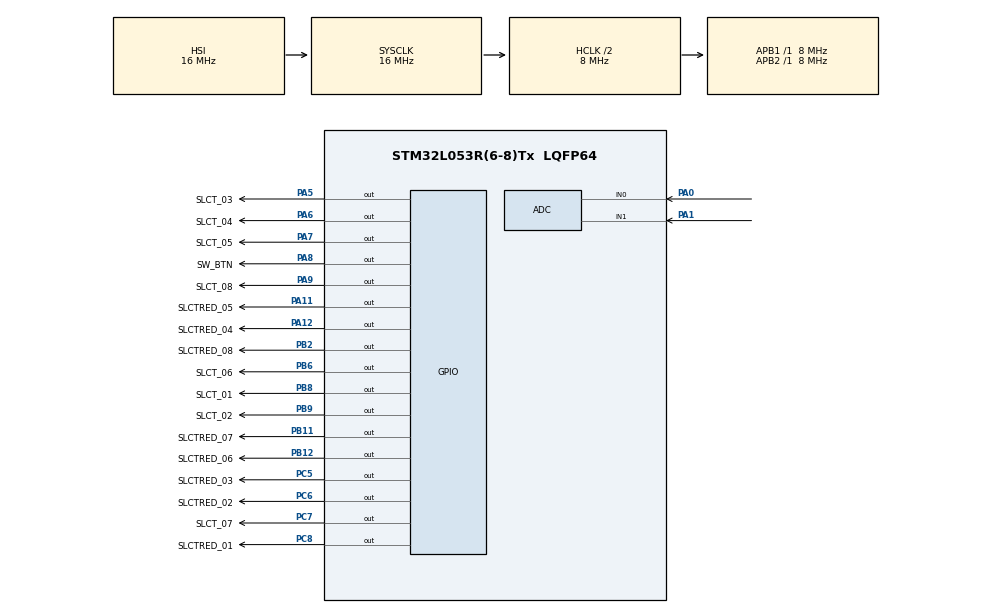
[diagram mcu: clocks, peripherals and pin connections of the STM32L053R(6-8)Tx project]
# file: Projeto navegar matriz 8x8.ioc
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ADC.ContinuousConvMode=ENABLE
ADC.SamplingTime=ADC_SAMPLETIME_160CYCLES_5
Mcu.Family=STM32L0
Mcu.Name=STM32L053R(6-8)Tx
Mcu.Package=LQFP64
NVIC.ADC1_COMP_IRQn=true\:0\:0\:false\:false\:true\:true\:true\:true
PA0.Mode=IN0
PA0.Signal=ADC_IN0
PA1.Mode=IN1
PA1.Signal=ADC_IN1
PA11.GPIO_Label=SLCTRED_05
PA11.Signal=GPIO_Output
PA12.GPIO_Label=SLCTRED_04
PA12.Signal=GPIO_Output
PA5.GPIO_Label=SLCT_03
PA5.Signal=GPIO_Output
PA6.GPIO_Label=SLCT_04
PA6.Signal=GPIO_Output
PA7.GPIO_Label=SLCT_05
PA7.Signal=GPIO_Output
PA8.GPIO_Label=SW_BTN
PA8.Signal=GPIO_Output
PA9.GPIO_Label=SLCT_08
PA9.Signal=GPIO_Output
PB11.GPIO_Label=SLCTRED_07
PB11.Signal=GPIO_Output
PB12.GPIO_Label=SLCTRED_06
PB12.Signal=GPIO_Output
PB2.GPIO_Label=SLCTRED_08
PB2.Signal=GPIO_Output
PB6.GPIO_Label=SLCT_06
PB6.Signal=GPIO_Output
PB8.GPIO_Label=SLCT_01
PB8.Signal=GPIO_Output
PB9.GPIO_Label=SLCT_02
PB9.Signal=GPIO_Output
PC5.GPIO_Label=SLCTRED_03
PC5.Signal=GPIO_Output
PC6.GPIO_Label=SLCTRED_02
PC6.Signal=GPIO_Output
PC7.GPIO_Label=SLCT_07
PC7.Signal=GPIO_Output
PC8.GPIO_Label=SLCTRED_01
PC8.Signal=GPIO_Output
ProjectManager.HeapSize=0x200
ProjectManager.StackSize=0x400
ProjectManager.TargetToolchain=STM32CubeIDE
RCC.AHBCLKDivider=RCC_SYSCLK_DIV2
RCC.AHBFreq_Value=8000000
RCC.APB1Freq_Value=8000000
RCC.APB1TimFreq_Value=8000000
RCC.APB2Freq_Value=8000000
RCC.APB2TimFreq_Value=8000000
RCC.HCLKFreq_Value=8000000
RCC.HSE_VALUE=8000000
RCC.HSI16_VALUE=16000000
RCC.HSI48_VALUE=48000000
RCC.HSI_VALUE=16000000
RCC.MSI_VALUE=2097000
RCC.SYSCLKFreq_VALUE=16000000
RCC.SYSCLKSource=RCC_SYSCLKSOURCE_HSI
RCC.VCOOutputFreq_Value=48000000
board=NUCLEO-L053R8

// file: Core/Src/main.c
/* USER CODE BEGIN Header */
/**
  ******************************************************************************
  * @file           : main.c
  * @brief          : Main program body
  ******************************************************************************
  * @attention
  *
  * Copyright (c) 2025 STMicroelectronics.
  * All rights reserved.
  *
  * This software is licensed under terms that can be found in the LICENSE file
  * in the root directory of this software component.
  * If no LICENSE file comes with this software, it is provided AS-IS.
  *
  ******************************************************************************
  */
/* USER CODE END Header */
#include "main.h"

/* USER CODE BEGIN Includes */
#include <stdio.h>
#include <stdlib.h>
#include <string.h>
/* USER CODE END Includes */

/* USER CODE BEGIN PTD */
typedef struct{
    unsigned P0: 1,
             P1: 1,
             P2: 1,
             P3: 1,
             P4: 1,
             P5: 1,
             P6: 1,
             P7: 1;
}BIT;
/* USER CODE END PTD */

/* USER CODE BEGIN PD */
#define DIM 8

/* USER CODE END PD */

ADC_HandleTypeDef hadc;

/* USER CODE BEGIN PV */
BIT data;
uint32_t axisX, axisY;
char dir[10]= "NONE";

int map[8][8];
int value, lineSelect = 4, columSelect = 4;
/* USER CODE END PV */

void SystemClock_Config(void);
static void MX_GPIO_Init(void);
static void MX_ADC_Init(void);
/* USER CODE BEGIN PFP */
void resetMap(void);
void verifyDirection(void);
void informationlLine(int value);
void informationCarrer(int value);
void infoManager(int value, int lineSelector);
/* USER CODE END PFP */

int main(void)
{

  /* MCU Configuration--------------------------------------------------------*/

  /* Reset of all peripherals, Initializes the Flash interface and the Systick. */
  HAL_Init();

  /* Configure the system clock */
  SystemClock_Config();

  /* Initialize all configured peripherals */
  MX_GPIO_Init();
  MX_ADC_Init();
  /* USER CODE BEGIN 2 */
  resetMap();
  /* USER CODE END 2 */

  /* Infinite loop */
  /* USER CODE BEGIN WHILE */
  while (1) {

	  verifyDirection();
	  infoManager(columSelect, lineSelect);
	  HAL_Delay(100);
    /* USER CODE END WHILE */

  }
}

void SystemClock_Config(void)
{
  RCC_OscInitTypeDef RCC_OscInitStruct = {0};
  RCC_ClkInitTypeDef RCC_ClkInitStruct = {0};

  /** Configure the main internal regulator output voltage
  */
  __HAL_PWR_VOLTAGESCALING_CONFIG(PWR_REGULATOR_VOLTAGE_SCALE1);

  /** Initializes the RCC Oscillators according to the specified parameters
  * in the RCC_OscInitTypeDef structure.
  */
  RCC_OscInitStruct.OscillatorType = RCC_OSCILLATORTYPE_HSI;
  RCC_OscInitStruct.HSIState = RCC_HSI_ON;
  RCC_OscInitStruct.HSICalibrationValue = RCC_HSICALIBRATION_DEFAULT;
  RCC_OscInitStruct.PLL.PLLState = RCC_PLL_NONE;
  if (HAL_RCC_OscConfig(&RCC_OscInitStruct) != HAL_OK)
  {
    Error_Handler();
  }

  /** Initializes the CPU, AHB and APB buses clocks
  */
  RCC_ClkInitStruct.ClockType = RCC_CLOCKTYPE_HCLK|RCC_CLOCKTYPE_SYSCLK
                              |RCC_CLOCKTYPE_PCLK1|RCC_CLOCKTYPE_PCLK2;
  RCC_ClkInitStruct.SYSCLKSource = RCC_SYSCLKSOURCE_HSI;
  RCC_ClkInitStruct.AHBCLKDivider = RCC_SYSCLK_DIV2;
  RCC_ClkInitStruct.APB1CLKDivider = RCC_HCLK_DIV1;
  RCC_ClkInitStruct.APB2CLKDivider = RCC_HCLK_DIV1;

  if (HAL_RCC_ClockConfig(&RCC_ClkInitStruct, FLASH_LATENCY_0) != HAL_OK)
  {
    Error_Handler();
  }
}

static void MX_ADC_Init(void)
{

  ADC_ChannelConfTypeDef sConfig = {0};

  /** Configure the global features of the ADC (Clock, Resolution, Data Alignment and number of conversion)
  */
  hadc.Instance = ADC1;
  hadc.Init.OversamplingMode = DISABLE;
  hadc.Init.ClockPrescaler = ADC_CLOCK_SYNC_PCLK_DIV2;
  hadc.Init.Resolution = ADC_RESOLUTION_12B;
  hadc.Init.SamplingTime = ADC_SAMPLETIME_160CYCLES_5;
  hadc.Init.ScanConvMode = ADC_SCAN_DIRECTION_FORWARD;
  hadc.Init.DataAlign = ADC_DATAALIGN_RIGHT;
  hadc.Init.ContinuousConvMode = ENABLE;
  hadc.Init.DiscontinuousConvMode = DISABLE;
  hadc.Init.ExternalTrigConvEdge = ADC_EXTERNALTRIGCONVEDGE_NONE;
  hadc.Init.ExternalTrigConv = ADC_SOFTWARE_START;
  hadc.Init.DMAContinuousRequests = DISABLE;
  hadc.Init.EOCSelection = ADC_EOC_SINGLE_CONV;
  hadc.Init.Overrun = ADC_OVR_DATA_PRESERVED;
  hadc.Init.LowPowerAutoWait = DISABLE;
  hadc.Init.LowPowerFrequencyMode = DISABLE;
  hadc.Init.LowPowerAutoPowerOff = DISABLE;
  if (HAL_ADC_Init(&hadc) != HAL_OK)
  {
    Error_Handler();
  }

  /** Configure for the selected ADC regular channel to be converted.
  */
  sConfig.Channel = ADC_CHANNEL_0;
  sConfig.Rank = ADC_RANK_CHANNEL_NUMBER;
  if (HAL_ADC_ConfigChannel(&hadc, &sConfig) != HAL_OK)
  {
    Error_Handler();
  }

  /** Configure for the selected ADC regular channel to be converted.
  */
  sConfig.Channel = ADC_CHANNEL_1;
  if (HAL_ADC_ConfigChannel(&hadc, &sConfig) != HAL_OK)
  {
    Error_Handler();
  }

}

static void MX_GPIO_Init(void)
{
  GPIO_InitTypeDef GPIO_InitStruct = {0};

  /* GPIO Ports Clock Enable */
  __HAL_RCC_GPIOA_CLK_ENABLE();
  __HAL_RCC_GPIOC_CLK_ENABLE();
  __HAL_RCC_GPIOB_CLK_ENABLE();

  /*Configure GPIO pin Output Level */
  HAL_GPIO_WritePin(GPIOA, SLCT_03_Pin|SLCT_04_Pin|SLCT_05_Pin|SW_BTN_Pin
                          |SLCT_08_Pin|SLCTRED_05_Pin|SLCTRED_04_Pin, GPIO_PIN_RESET);

  /*Configure GPIO pin Output Level */
  HAL_GPIO_WritePin(GPIOC, SLCTRED_03_Pin|SLCTRED_02_Pin|SLCT_07_Pin|SLCTRED_01_Pin, GPIO_PIN_RESET);

  /*Configure GPIO pin Output Level */
  HAL_GPIO_WritePin(GPIOB, SLCTRED_08_Pin|SLCTRED_07_Pin|SLCTRED_06_Pin|SLCT_06_Pin
                          |SLCT_01_Pin|SLCT_02_Pin, GPIO_PIN_RESET);

  /*Configure GPIO pins : SLCT_03_Pin SLCT_04_Pin SLCT_05_Pin SW_BTN_Pin
                           SLCT_08_Pin SLCTRED_05_Pin SLCTRED_04_Pin */
  GPIO_InitStruct.Pin = SLCT_03_Pin|SLCT_04_Pin|SLCT_05_Pin|SW_BTN_Pin
                          |SLCT_08_Pin|SLCTRED_05_Pin|SLCTRED_04_Pin;
  GPIO_InitStruct.Mode = GPIO_MODE_OUTPUT_PP;
  GPIO_InitStruct.Pull = GPIO_NOPULL;
  GPIO_InitStruct.Speed = GPIO_SPEED_FREQ_LOW;
  HAL_GPIO_Init(GPIOA, &GPIO_InitStruct);

  /*Configure GPIO pins : SLCTRED_03_Pin SLCTRED_02_Pin SLCT_07_Pin SLCTRED_01_Pin */
  GPIO_InitStruct.Pin = SLCTRED_03_Pin|SLCTRED_02_Pin|SLCT_07_Pin|SLCTRED_01_Pin;
  GPIO_InitStruct.Mode = GPIO_MODE_OUTPUT_PP;
  GPIO_InitStruct.Pull = GPIO_NOPULL;
  GPIO_InitStruct.Speed = GPIO_SPEED_FREQ_LOW;
  HAL_GPIO_Init(GPIOC, &GPIO_InitStruct);

  /*Configure GPIO pins : SLCTRED_08_Pin SLCTRED_07_Pin SLCTRED_06_Pin SLCT_06_Pin
                           SLCT_01_Pin SLCT_02_Pin */
  GPIO_InitStruct.Pin = SLCTRED_08_Pin|SLCTRED_07_Pin|SLCTRED_06_Pin|SLCT_06_Pin
                          |SLCT_01_Pin|SLCT_02_Pin;
  GPIO_InitStruct.Mode = GPIO_MODE_OUTPUT_PP;
  GPIO_InitStruct.Pull = GPIO_NOPULL;
  GPIO_InitStruct.Speed = GPIO_SPEED_FREQ_LOW;
  HAL_GPIO_Init(GPIOB, &GPIO_InitStruct);

}

/* USER CODE BEGIN 4 */

// Memory alocation managers
void resetMap(void){
	for (int i = 0; i < DIM; ++i){
		for (int j = 0; j < DIM; ++j){
			map[i][j] = 0;
		}
	}
}

// 8x8 Bit Manager
void infoManager(int value, int lineSelector){
	int line = 0, column = 0;

	for (int i = 7; i >= 0; --i){
		if (i == (lineSelector - 1)){
			for (int j = 7; j >= 0; --j){
				map[i][j] = (value >> j) & 1;
			}
		}
	}

	switch(lineSelector){
		case 1: line = 0x01;
				break;
		case 2: line = 0x02;
				break;
		case 3: line = 0x04;
				break;
		case 4: line = 0x08;
				break;
		case 5: line = 0x10;
				break;
		case 6: line = 0x20;
				break;
		case 7: line = 0x40;
				break;
		case 8: line = 0x80;
				break;
	}

	switch(value){
		case 1: column = 0xFE;
				break;
		case 2: column = 0xFC;
				break;
		case 3: column = 0xF3;
				break;
		case 4: column = 0xE7;
				break;
		case 5: column = 0xCF;
				break;
		case 6: column = 0x9F;
				break;
		case 7: column = 0x3F;
				break;
		case 8: column = 0x7F;
				break;
	}

	informationlLine(line);
	informationCarrer(column);
}

void informationlLine(int line){
	HAL_GPIO_WritePin(SLCT_01_GPIO_Port, SLCT_01_Pin, (line >> 0) & 1);
	HAL_GPIO_WritePin(SLCT_02_GPIO_Port, SLCT_02_Pin, (line >> 1) & 1);
	HAL_GPIO_WritePin(SLCT_03_GPIO_Port, SLCT_03_Pin, (line >> 2) & 1);
	HAL_GPIO_WritePin(SLCT_04_GPIO_Port, SLCT_04_Pin, (line >> 3) & 1);
	HAL_GPIO_WritePin(SLCT_05_GPIO_Port, SLCT_05_Pin, (line >> 4) & 1);
	HAL_GPIO_WritePin(SLCT_06_GPIO_Port, SLCT_06_Pin, (line >> 5) & 1);
	HAL_GPIO_WritePin(SLCT_07_GPIO_Port, SLCT_07_Pin, (line >> 6) & 1);
	HAL_GPIO_WritePin(SLCT_08_GPIO_Port, SLCT_08_Pin, (line >> 7) & 1);
}

void informationCarrer(int value){
	data.P0 = (value >> 0) & 1;
	data.P1 = (value >> 1) & 1;
	data.P2 = (value >> 2) & 1;
	data.P3 = (value >> 3) & 1;
	data.P4 = (value >> 4) & 1;
	data.P5 = (value >> 5) & 1;
	data.P6 = (value >> 6) & 1;
	data.P7 = (value >> 7) & 1;

	HAL_GPIO_WritePin(SLCTRED_01_GPIO_Port, SLCTRED_01_Pin, data.P0);
	HAL_GPIO_WritePin(SLCTRED_02_GPIO_Port, SLCTRED_02_Pin, data.P1);
	HAL_GPIO_WritePin(SLCTRED_03_GPIO_Port, SLCTRED_03_Pin, data.P2);
	HAL_GPIO_WritePin(SLCTRED_04_GPIO_Port, SLCTRED_04_Pin, data.P3);
	HAL_GPIO_WritePin(SLCTRED_05_GPIO_Port, SLCTRED_05_Pin, data.P4);
	HAL_GPIO_WritePin(SLCTRED_06_GPIO_Port, SLCTRED_06_Pin, data.P5);
	HAL_GPIO_WritePin(SLCTRED_07_GPIO_Port, SLCTRED_07_Pin, data.P6);
	HAL_GPIO_WritePin(SLCTRED_08_GPIO_Port, SLCTRED_08_Pin, data.P7);
}

void verifyDirection(void){
	int columValueAdd = 0, lineValueAdd = 1;
	HAL_ADC_Start(&hadc);

	for (int i = 0; i < 2; ++i){
	  HAL_ADC_PollForConversion(&hadc, 100);
	  if (i == 0) axisY = HAL_ADC_GetValue(&hadc);
	  else axisX = HAL_ADC_GetValue(&hadc);
	}

	if (axisX <= 70)          strcpy(dir, "LEFT");
	else if ((axisX >= 2900) && (axisX <= 3000))   strcpy(dir, "RIGHT");
	else if (axisY > 4000)   strcpy(dir, "UP");
	else if (axisY <= 70)     strcpy(dir, "DOWN");

	if (strcmp(dir, "UP") == 0 && lineValueAdd != 0) {
	  lineSelect -= lineValueAdd;
	  columValueAdd = 0;
	}
	else if (strcmp(dir, "DOWN") == 0 && lineValueAdd != 0) {
	  lineSelect += lineValueAdd;
	  columValueAdd = 0;
	} else columValueAdd = 1;

	if (strcmp(dir, "RIGHT") == 0 && columValueAdd != 0) {
	  columSelect += columValueAdd;
	  lineValueAdd = 0;
	}
	else if (strcmp(dir, "LEFT") == 0 && columValueAdd != 0) {
	  columSelect -= columValueAdd;
	  lineValueAdd = 0;
	} else lineValueAdd = 1;

	if      (lineSelect >= 9) lineSelect = 1;
	else if (lineSelect <= 0) lineSelect = 8;

	if      (columSelect >= 9) columSelect = 1;
	else if (columSelect <= 0) columSelect = 8;
	HAL_Delay(10);

	HAL_ADC_Stop(&hadc);
}

/* USER CODE END 4 */

void Error_Handler(void)
{
  __disable_irq();
  while (1)
  {
  }
}
